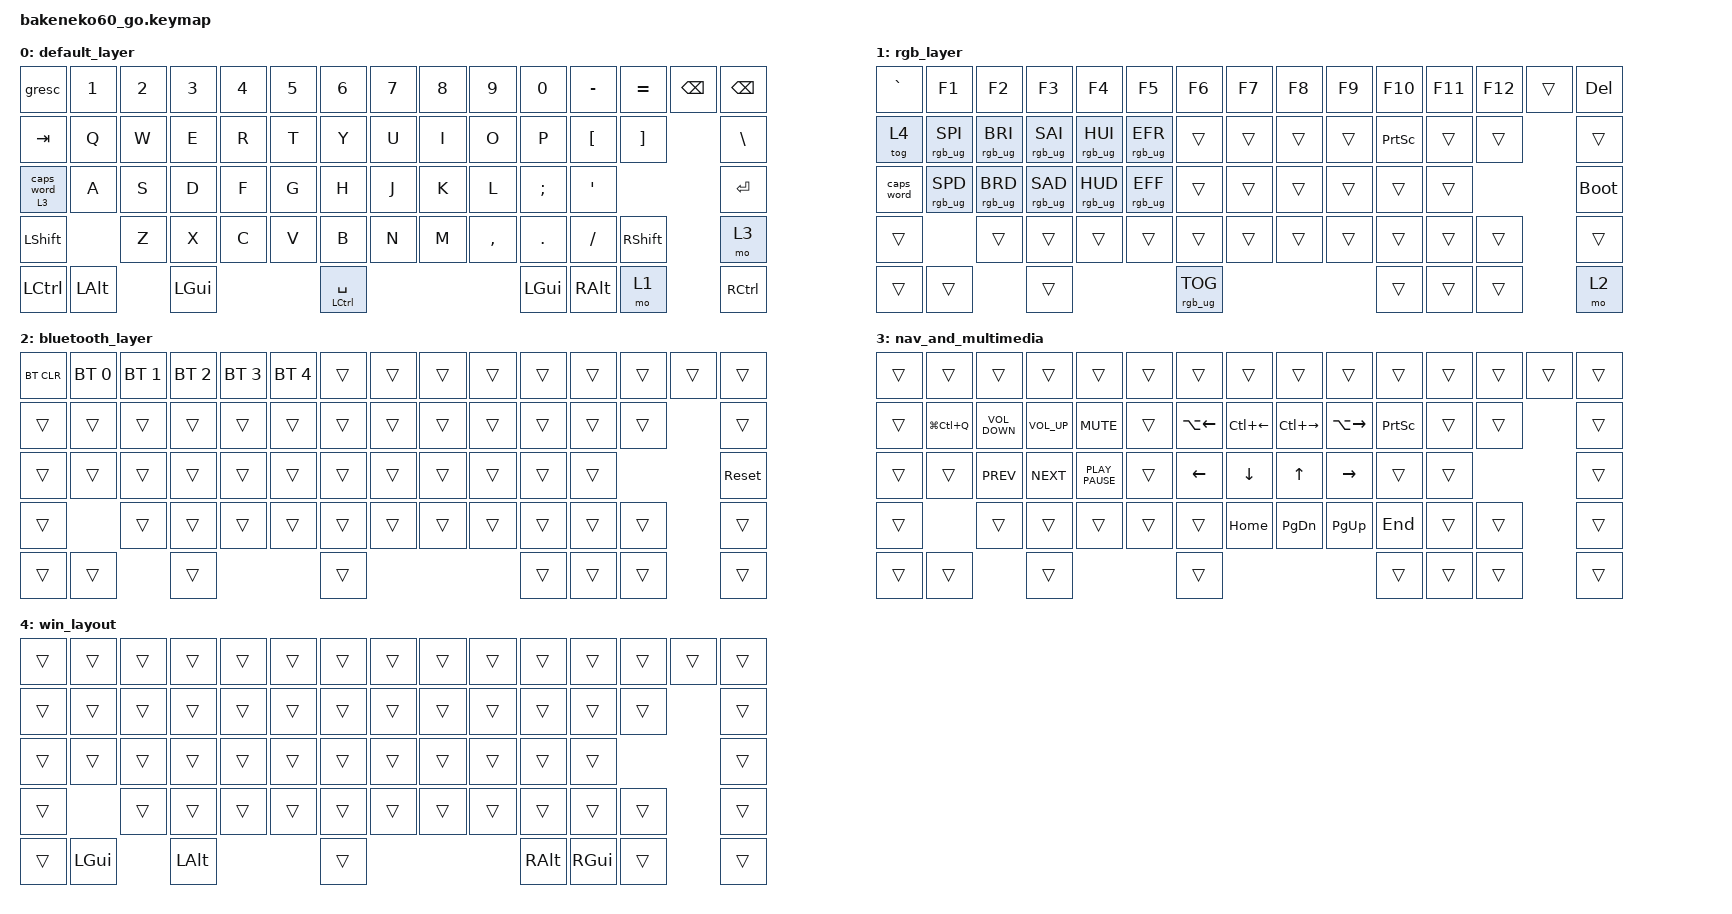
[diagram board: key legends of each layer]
/*
 * Copyright (c) 2023 Andrew Kannan
 *
 * SPDX-License-Identifier: MIT
 */

#include <behaviors.dtsi>
#include <dt-bindings/zmk/bt.h>
#include <dt-bindings/zmk/keys.h>
#include <dt-bindings/zmk/rgb.h>

/ {
    behaviors {
        mt: mod_tap {
            compatible = "zmk,behavior-hold-tap";
            display-name = "Mod-Tap";
            bindings = <&kp>, <&kp>;

            #binding-cells = <2>;
            tapping-term-ms = <200>;
            flavor = "balanced";
        };

        lcw: layer_caps_word {
            compatible = "zmk,behavior-hold-tap";
            display-name = "Layer/Caps Word";
            bindings = <&mo>, <&caps_word>;

            #binding-cells = <2>;
            tapping-term-ms = <200>;
            quick-tap-ms = <0>;
            flavor = "balanced";
        };

        gresc: grave_escape {
            compatible = "zmk,behavior-mod-morph";
            display-name = "Grave Escape";
            bindings = <&kp ESC>, <&kp GRAVE>;

            #binding-cells = <0>;
            mods = <(MOD_LGUI|MOD_LSFT|MOD_RGUI|MOD_RSFT)>;
            keep-mods = <(MOD_LSFT|MOD_RSFT)>;
        };
    };

    keymap {
        compatible = "zmk,keymap";

        default_layer {
            // ------------------------------------------------------------------------------------------
            // | ESC |  1  |  2  |  3  |  4  |  5  |  6  |  7  |  8  |  9  |  0  |  -  |  =  | BKSP|BKSP|
            // | TAB  |  Q  |  W  |  E  |  R  |  T  |  Y  |  U  |  I  |  O  |  P  |  [  |  ]  |   "|"   |
            // | CAPS  |  A  |  S  |  D  |  F  |  G  |  H  |  J  |  K  |  L  |  ;  |  '  |     ENTER    |
            // |  SHIFT  |  Z  |  X  |  C  |  V  |  B  |  N  |  M  |  ,  |  .  |  /  |  SHIFT  | MO(1)  |
            // |  CTL  |  WIN  |  ALT  |            SPACE              |  ALT  |  WIN  |  MO(1) |  CTL  |
            // ------------------------------------------------------------------------------------------

            bindings = <
&gresc     &kp N1        &kp N2  &kp N3        &kp N4  &kp N5  &kp N6           &kp N7  &kp N8  &kp N9     &kp N0        &kp MINUS      &kp EQUAL  &kp BSPC  &kp BSPC
&kp TAB    &kp Q         &kp W   &kp E         &kp R   &kp T   &kp Y            &kp U   &kp I   &kp O      &kp P         &kp LBKT       &kp RBKT             &kp BSLH
&lcw 3 0   &kp A         &kp S   &kp D         &kp F   &kp G   &kp H            &kp J   &kp K   &kp L      &kp SEMI      &kp SQT                             &kp RET
&kp LSHFT                &kp Z   &kp X         &kp C   &kp V   &kp B            &kp N   &kp M   &kp COMMA  &kp DOT       &kp FSLH       &kp RSHFT            &mo 3
&kp LCTRL  &kp LEFT_ALT          &kp LEFT_GUI                  &mt LCTRL SPACE                             &kp LEFT_GUI  &kp RIGHT_ALT  &mo 1                &kp RCTRL
            >;
        };

        rgb_layer {
            // ------------------------------------------------------------------------------------------------
            // |    `   | F1  | F2  | F3  | F4  | F5  | F6  | F7  | F8  | F9  | F10  | F11 | F12 |     | DEL  |
            // | EFCT REV|   |  UP |   | HUEUP | SATUP | BRIUP | SPDUP |      |  PGUP |    |     |    |       |
            // | EFCT FWD | LT |  DN  | RT | HUEDN | SATDN | BRIDN | SPDDN | HOME | PGDN | END  |  | BOOTLDR  |
            // |             |     |      |      |     |     |     |     |     |     |     |         |        |
            // |         |      |      |             TOG RGB                | PRT SCR |       |       |  MO(2)|
            // ------------------------------------------------------------------------------------------------

            bindings = <
&kp GRAVE   &kp F1           &kp F2           &kp F3           &kp F4           &kp F5           &kp F6           &kp F7  &kp F8  &kp F9  &kp F10          &kp F11  &kp F12  &trans  &kp DEL
&tog 4      &rgb_ug RGB_SPI  &rgb_ug RGB_BRI  &rgb_ug RGB_SAI  &rgb_ug RGB_HUI  &rgb_ug RGB_EFR  &trans           &trans  &trans  &trans  &kp PRINTSCREEN  &trans   &trans           &trans
&caps_word  &rgb_ug RGB_SPD  &rgb_ug RGB_BRD  &rgb_ug RGB_SAD  &rgb_ug RGB_HUD  &rgb_ug RGB_EFF  &trans           &trans  &trans  &trans  &trans           &trans                    &bootloader
&trans                       &trans           &trans           &trans           &trans           &trans           &trans  &trans  &trans  &trans           &trans   &trans           &trans
&trans      &trans                            &trans                                             &rgb_ug RGB_TOG                          &trans           &trans   &trans           &mo 2
            >;
        };

        bluetooth_layer {
            // ------------------------------------------------------------------------------------------------
            // | BT CLR |     |     |     |     |     |     |     |     |     |     |    |    |       |       |
            // |  BT 1   |   |     |   |       |       |       |       |   |     |    |     |     |           |
            // |   BT 2   |    |      |    |       |       |       |       |      |      |      |  |   Reset  |
            // |    BT 3     |     |      |      |     |     |     |     |     |     |     |         |        |
            // |   BT 4  |      |      |                                    |         |       |       |       |
            // ------------------------------------------------------------------------------------------------

            bindings = <
&bt BT_CLR  &bt BT_SEL 0  &bt BT_SEL 1  &bt BT_SEL 2  &bt BT_SEL 3  &bt BT_SEL 4  &trans  &trans  &trans  &trans  &trans  &trans  &trans  &trans  &trans
&trans      &trans        &trans        &trans        &trans        &trans        &trans  &trans  &trans  &trans  &trans  &trans  &trans          &trans
&trans      &trans        &trans        &trans        &trans        &trans        &trans  &trans  &trans  &trans  &trans  &trans                  &sys_reset
&trans                    &trans        &trans        &trans        &trans        &trans  &trans  &trans  &trans  &trans  &trans  &trans          &trans
&trans      &trans                      &trans                                    &trans                          &trans  &trans  &trans          &trans
            >;
        };

        nav_and_multimedia {
            bindings = <
&trans  &trans         &trans             &trans           &trans            &trans  &trans        &trans        &trans         &trans         &trans           &trans  &trans  &trans  &trans
&trans  &kp LG(LC(Q))  &kp C_VOLUME_DOWN  &kp C_VOLUME_UP  &kp K_MUTE        &trans  &kp LA(LEFT)  &kp LC(LEFT)  &kp LC(RIGHT)  &kp LA(RIGHT)  &kp PRINTSCREEN  &trans  &trans          &trans
&trans  &trans         &kp K_PREV         &kp K_NEXT       &kp K_PLAY_PAUSE  &trans  &kp LEFT      &kp DOWN      &kp UP         &kp RIGHT      &trans           &trans                  &trans
&trans                 &trans             &trans           &trans            &trans  &trans        &kp HOME      &kp PG_DN      &kp PG_UP      &kp END          &trans  &trans          &trans
&trans  &trans                            &trans                                     &trans                                                    &trans           &trans  &trans          &trans
            >;
        };

        win_layout {
            bindings = <
&trans  &trans        &trans  &trans        &trans  &trans  &trans  &trans  &trans  &trans  &trans         &trans         &trans  &trans  &trans
&trans  &trans        &trans  &trans        &trans  &trans  &trans  &trans  &trans  &trans  &trans         &trans         &trans          &trans
&trans  &trans        &trans  &trans        &trans  &trans  &trans  &trans  &trans  &trans  &trans         &trans                         &trans
&trans                &trans  &trans        &trans  &trans  &trans  &trans  &trans  &trans  &trans         &trans         &trans          &trans
&trans  &kp LEFT_GUI          &kp LEFT_ALT                  &trans                          &kp RIGHT_ALT  &kp RIGHT_GUI  &trans          &trans
            >;
        };
    };

    combos {
        compatible = "zmk,combos";

        combo_bt {
            timeout-ms = <50>;
            key-positions = <61 62>;
            bindings = <&mo 2>;
        };
    };
};
